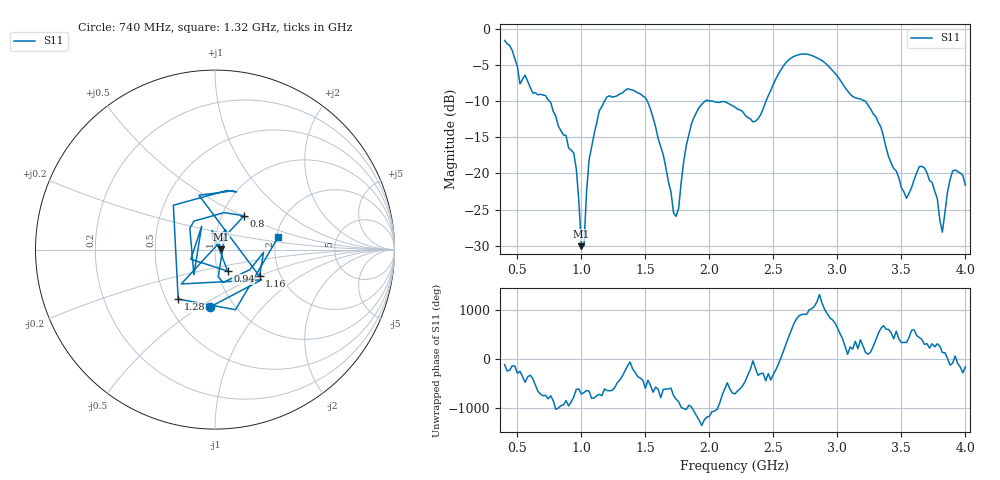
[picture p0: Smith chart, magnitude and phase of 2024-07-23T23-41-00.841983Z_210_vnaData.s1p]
!Created with skrf (http://scikit-rf.org).
# Hz S RI R 50.0
!freq ReS11 ImS11
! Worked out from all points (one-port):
!   181 points, 400 MHz to 4 GHz, reference 50 ohm
!   lowest |S11| = -30.0 dB at 1 GHz (marker M1), VSWR 1.07, Z = 53.2 + j0.242 ohm
!   |S11| at or under -10 dB: 749.6 MHz to 1.181 GHz (430.9 MHz wide, 44.7 % of centre); 1.514 GHz to 1.969 GHz (455.5 MHz wide, 26.2 % of centre); 3.213 GHz to end of sweep (the widest 3 of 4)
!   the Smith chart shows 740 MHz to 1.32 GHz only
!   S11 on the Smith chart (normalised r, x): 740 MHz: 0.77, -0.55; 800 MHz: 1.27, +0.51; 940 MHz: 1.12, -0.27; 1.16 GHz: 1.56, -0.51; 1.28 GHz: 0.58, -0.36; 1.32 GHz: 2.05, +0.33
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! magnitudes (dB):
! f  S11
! 400 MHz  -1.6
! 520 MHz  -7.6
! 740 MHz  -9.8
! 800 MHz  -12.1
! 860 MHz  -14.7
! 940 MHz  -17.2
! 1 GHz  -30.0
! 1.02 GHz  -29.9
! 1.06 GHz  -18.1
! 1.16 GHz  -10.8
! 1.28 GHz  -9.3
! 1.3 GHz  -9.0
! 1.32 GHz  -8.9
! 1.52 GHz  -10.2
! 1.72 GHz  -25.5
! 1.76 GHz  -24.8
! 1.82 GHz  -16.1
! 1.92 GHz  -10.9
! 2.2 GHz  -10.8
! 2.36 GHz  -12.8
! 2.66 GHz  -3.8
! 3.1 GHz  -9.1
! 3.3 GHz  -12.1
! 3.56 GHz  -22.7
! 3.68 GHz  -19.3
! 3.82 GHz  -28.1
! 3.9 GHz  -19.7
! 4 GHz  -21.6
